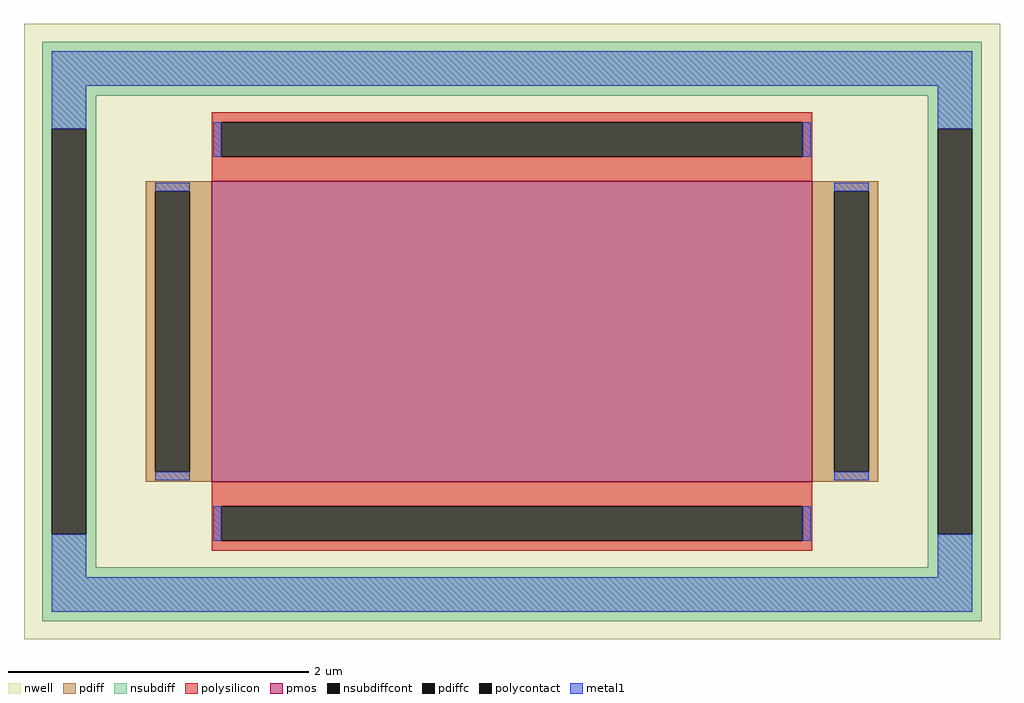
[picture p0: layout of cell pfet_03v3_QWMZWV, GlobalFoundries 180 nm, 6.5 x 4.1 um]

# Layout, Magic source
magic
tech gf180mcuD
magscale 1 10
<< nwell >>
rect -650 -410 650 410
<< pmos >>
rect -400 -200 400 200
<< pdiff >>
rect -488 187 -400 200
rect -488 -187 -475 187
rect -429 -187 -400 187
rect -488 -200 -400 -187
rect 400 187 488 200
rect 400 -187 429 187
rect 475 -187 488 187
rect 400 -200 488 -187
<< pdiffc >>
rect -475 -187 -429 187
rect 429 -187 475 187
<< nsubdiff >>
rect -626 314 626 386
rect -626 270 -554 314
rect -626 -270 -613 270
rect -567 -270 -554 270
rect 554 270 626 314
rect -626 -314 -554 -270
rect 554 -270 567 270
rect 613 -270 626 270
rect 554 -314 626 -270
rect -626 -386 626 -314
<< nsubdiffcont >>
rect -613 -270 -567 270
rect 567 -270 613 270
<< polysilicon >>
rect -400 279 400 292
rect -400 233 -387 279
rect 387 233 400 279
rect -400 200 400 233
rect -400 -233 400 -200
rect -400 -279 -387 -233
rect 387 -279 400 -233
rect -400 -292 400 -279
<< polycontact >>
rect -387 233 387 279
rect -387 -279 387 -233
<< metal1 >>
rect -613 327 613 373
rect -613 270 -567 327
rect -398 233 -387 279
rect 387 233 398 279
rect 567 270 613 327
rect -475 187 -429 198
rect -475 -198 -429 -187
rect 429 187 475 198
rect 429 -198 475 -187
rect -613 -327 -567 -270
rect -398 -279 -387 -233
rect 387 -279 398 -233
rect 567 -327 613 -270
rect -613 -373 613 -327
<< properties >>
string FIXED_BBOX -590 -350 590 350
string gencell pfet_03v3
string library gf180mcu
string parameters w 2.0 l 4.0 m 1 nf 1 diffcov 100 polycov 100 guard 1 glc 1 grc 1 gtc 0 gbc 0 tbcov 100 rlcov 100 topc 1 botc 1 poverlap 0 doverlap 1 lmin 0.28 wmin 0.22 class mosfet full_metal 1 compatible {pfet_03v3 pfet_06v0} ad {int((nf+1)/2) * W/nf * 0.18u} as {int((nf+2)/2) * W/nf * 0.18u} pd {2*int((nf+1)/2) * (W/nf + 0.18u)} ps {2*int((nf+2)/2) * (W/nf + 0.18u)} nrd {0.18u / W} nrs {0.18u / W} sa 0 sb 0 sd 0
<< end >>
